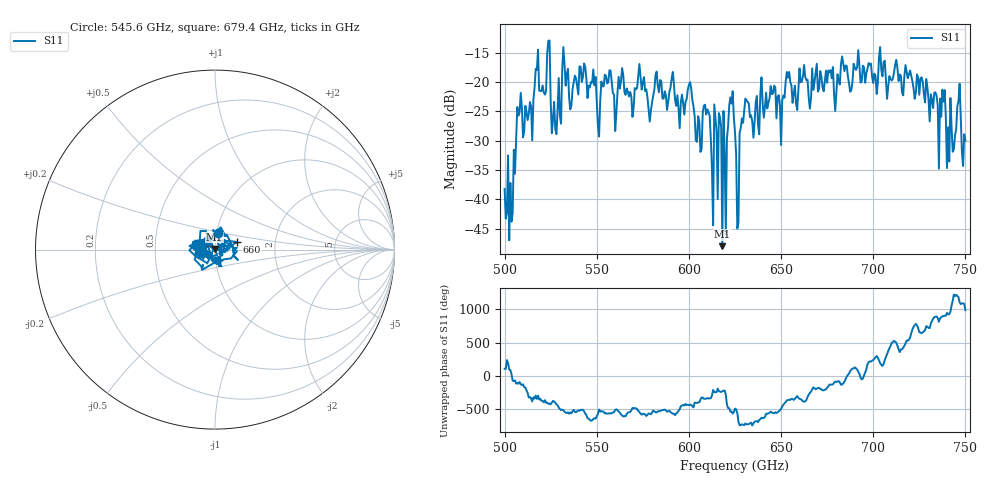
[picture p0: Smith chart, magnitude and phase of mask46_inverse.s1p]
!Created with skrf (http://scikit-rf.org).
# GHz S MA R 50.0
!freq magS11 angS11
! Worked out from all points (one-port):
!   401 points, 500 GHz to 750 GHz, reference 50 ohm
!   lowest |S11| = -48.0 dB at 618.1 GHz (marker M1), VSWR 1.01, Z = 49.7 + j0.294 ohm
!   |S11| at or under -10 dB: start of sweep to end of sweep
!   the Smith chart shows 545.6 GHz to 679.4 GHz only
!   S11 on the Smith chart (normalised r, x): 545.6 GHz: 1.01, +0.19; 660 GHz: 1.28, +0.11; 679.4 GHz: 1.01, -0.11
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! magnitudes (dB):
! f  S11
! 500 GHz  -38.2
! 503.8 GHz  -43.8
! 508.1 GHz  -25.1
! 523.1 GHz  -15.0
! 526.9 GHz  -23.4
! 531.2 GHz  -17.9
! 545.6 GHz  -20.6
! 562.5 GHz  -21.1
! 593.8 GHz  -22.2
! 600.6 GHz  -20.0
! 605 GHz  -25.8
! 609.4 GHz  -25.5
! 611.9 GHz  -29.6
! 618.1 GHz  -48.0
! 619.4 GHz  -31.8
! 623.1 GHz  -23.7
! 625 GHz  -28.5
! 626.9 GHz  -43.9
! 631.2 GHz  -23.1
! 656.2 GHz  -23.5
! 660 GHz  -17.7
! 679.4 GHz  -24.9
! 687.5 GHz  -21.6
! 718.8 GHz  -19.3
! 737.5 GHz  -21.3
! 741.2 GHz  -33.6
! 746.2 GHz  -23.2
! 750 GHz  -30.0
